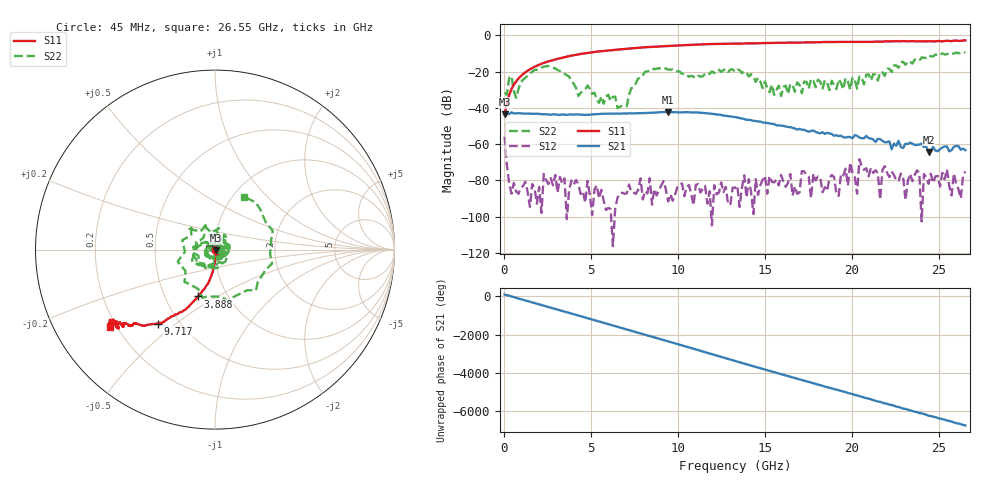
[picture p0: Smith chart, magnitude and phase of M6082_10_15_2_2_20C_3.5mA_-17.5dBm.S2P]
!  2-Port S-parameters saved by WinCal
! VAR MeasName=S-Parameters (CALIBRATED_DATA) read from VNA (C)
! VAR MeasDate=10/16/2015 3:08:32 PM
! VAR NAME=M6082_10_15_2_2_20C_3.5mA_-17.5dBm
! VAR FILENAME=M6082_10_15_2_2_20C_3.5mA_-17.5dBm.S2P
! VAR DATE=10/16/2015 3:08:32 PM
! VAR PHYS_PORTS=2,1
! VAR ObjTypeName=DATASET
! VAR IndexType=Frequency
# Hz S RI R 50
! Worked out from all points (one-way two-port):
!   201 points, 45 MHz to 26.55 GHz, reference 50 ohm
!   highest |S21| = -42.20 dB at 9.453 GHz (marker M1); lowest = -64.3 dB at 24.43 GHz (marker M2)
!   lowest |S11| = -43.6 dB at 45 MHz (marker M3), VSWR 1.01, Z = 50.6 - j0.37 ohm
!   |S11| at or under -10 dB: start of sweep to 4.552 GHz
!   |S22| runs from -40.1 to -9.2 dB; largest |S21 - S12| = 0.0081
!   S11 on the Smith chart (normalised r, x): 45 MHz: 1.01, -0.01; 3.888 GHz: 0.73, -0.41; 9.717 GHz: 0.38, -0.43; 26.55 GHz: 0.17, -0.32
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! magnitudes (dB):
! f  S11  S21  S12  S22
! 45 MHz  -43.6  -43.7  -55.9  -31.5
! 310 MHz  -32.8  -43.4  -81.8  -23.3
! 707.5 MHz  -25.4  -43.0  -86.1  -34.5
! 2.297 GHz  -15.2  -43.5  -76.5  -17.2
! 3.888 GHz  -11.1  -43.6  -80.1  -25.0
! 4.55 GHz  -10.0  -43.8  -86.0  -30.4
! 7.067 GHz  -7.4  -43.1  -87.2  -39.1
! 7.73 GHz  -6.8  -42.9  -85.0  -23.7
! 8.922 GHz  -6.1  -42.4  -85.3  -18.0
! 9.453 GHz  -5.8  -42.2  -91.6  -18.9
! 9.717 GHz  -5.6  -42.4  -91.3  -18.8
! 13.29 GHz  -4.5  -45.0  -84.2  -20.0
! 15.95 GHz  -4.0  -49.8  -77.0  -33.4
! 17.8 GHz  -3.8  -52.4  -76.3  -25.0
! 19.79 GHz  -3.5  -55.9  -82.8  -25.4
! 19.92 GHz  -3.5  -56.2  -70.2  -29.9
! 20.32 GHz  -3.6  -55.4  -87.4  -29.4
! 20.45 GHz  -3.5  -56.4  -68.3  -22.7
! 20.98 GHz  -3.5  -56.7  -77.8  -21.5
! 22.17 GHz  -3.2  -58.4  -78.2  -18.4
! 24.43 GHz  -3.2  -64.3  -81.9  -11.1
! 26.55 GHz  -2.7  -63.3  -75.1  -9.5
